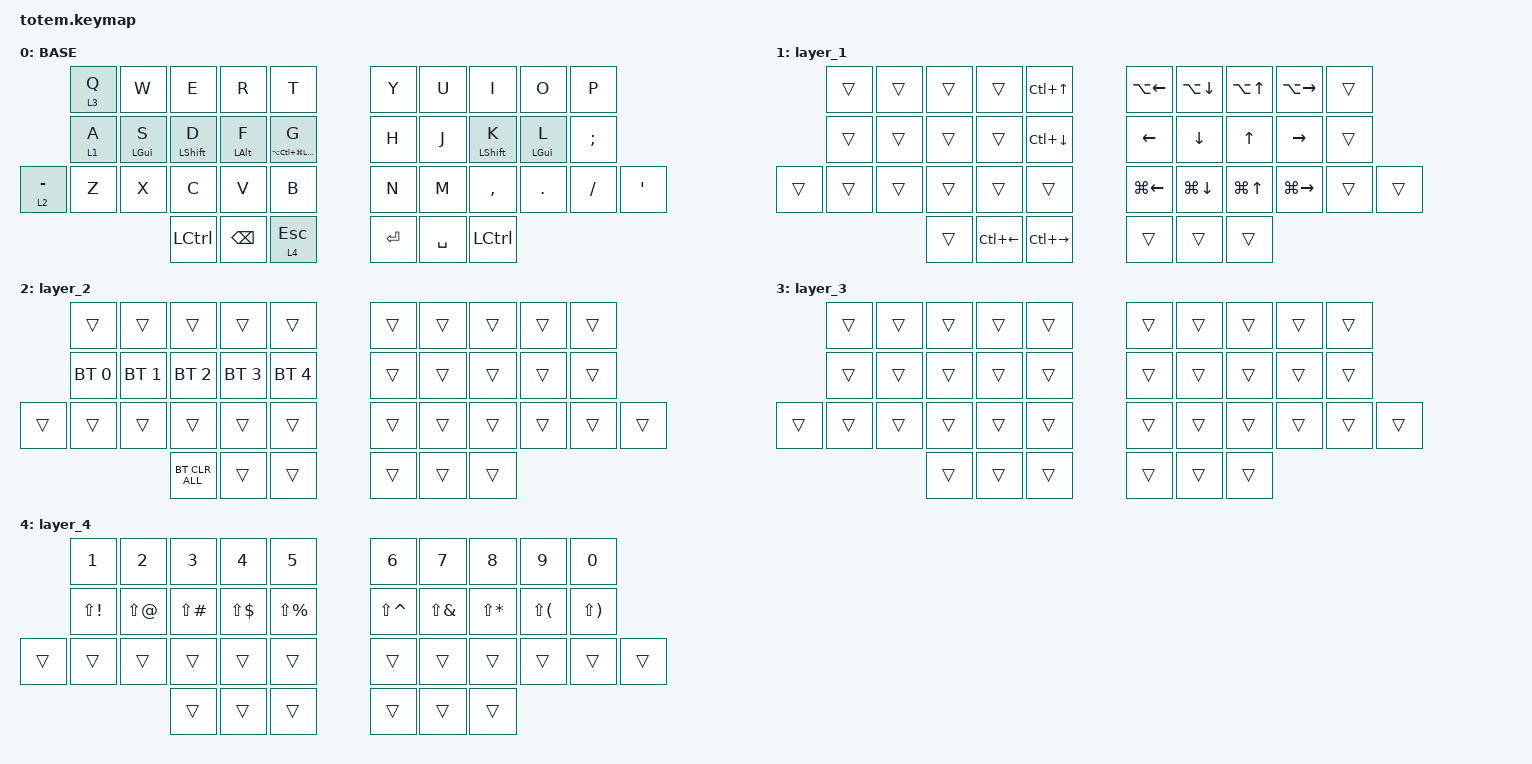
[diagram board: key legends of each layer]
//
//                                                        ▀▀▀▀▀     ▀▀▀▀▀          ▀▀█▀▀
//                                                        ▄▀▀▀▄  ▄  ▄▀▀▀▄  ▄  ▄▀▀▀▄  █  ▄▀▀▀▄
//                                                        █   █  █  █   █  █  █   █  █  █   █
//                                                         ▀▀▀   █   ▀▀▀   █   ▀▀▀   ▀   ▀▀▀
//                                                               █      ▄▄▄█▄▄▄    █   █  
//                                                               ▀      █  █  █     █▄█
//                                                             ▀▀▀▀▀    █  █  █      ▀
//                                                                      ▀  ▀  ▀
//
// ▄▄▄▄▄▄▄▄▄▄▄▄▄▄▄▄▄▄▄▄▄▄▄▄▄▄▄▄▄▄▄▄▄▄▄▄▄▄▄▄▄▄▄▄▄▄▄▄▄▄▄▄▄▄▄▄▄▄▄▄▄▄▄▄▄▄▄▄▄▄▄▄▄▄▄▄▄▄▄▄▄▄▄▄▄▄▄▄▄▄▄▄▄▄▄▄▄▄▄▄▄▄▄▄▄▄▄▄▄▄▄▄▄▄▄▄▄▄▄▄▄▄▄▄▄▄▄▄▄▄▄▄▄▄▄▄▄▄▄▄▄▄▄▄▄▄▄▄▄

#include <behaviors.dtsi>
#include <dt-bindings/zmk/bt.h>
#include <dt-bindings/zmk/keys.h>

#define BASE 0
#define NAV  1
#define SYM  2
#define ADJ  3
#define TVP1 4
#define TVP2 5

&mt {
    quick-tap-ms = <100>;
    global-quick-tap;
    flavor = "tap-preferred";
    tapping-term-ms = <170>;
};

/ {
    combos {
        compatible = "zmk,combos";

        combo_esc {
            timeout-ms = <50>;
            key-positions = <1 2>;
            bindings = <&kp TAB>;
        };

        combo_caps {
            bindings = <&kp CAPSLOCK>;
            key-positions = <11 12>;
        };

        combo_tilde {
            bindings = <&kp GRAVE>;
            key-positions = <22 23>;
        };

        combo_lcurly {
            bindings = <&kp LEFT_BRACE>;
            key-positions = <3 2>;
        };

        combo_rcurly {
            bindings = <&kp RIGHT_BRACE>;
            key-positions = <3 4>;
        };

        combo_lround {
            bindings = <&kp LEFT_PARENTHESIS>;
            key-positions = <12 13>;
        };

        combo_rround {
            bindings = <&kp RIGHT_PARENTHESIS>;
            key-positions = <13 14>;
        };

        combo_lbracket {
            bindings = <&kp LEFT_BRACKET>;
            key-positions = <23 24>;
        };

        combo_rbracket {
            bindings = <&kp RIGHT_BRACKET>;
            key-positions = <24 25>;
        };

        combo_bcklash {
            bindings = <&kp NON_US_BACKSLASH>;
            key-positions = <7 8>;
        };

        combo_semicolon {
            bindings = <&kp COLON>;
            key-positions = <17 18>;
        };

        combo_eq {
            bindings = <&kp EQUAL>;
            key-positions = <28 29>;
        };

        combo_play {
            bindings = <&kp C_PLAY_PAUSE>;
            key-positions = <36 17>;
        };

        combo_next {
            bindings = <&kp C_NEXT>;
            key-positions = <36 18>;
        };

        combo_prev {
            bindings = <&kp LC(C_PREVIOUS)>;
            key-positions = <36 16>;
        };

        combo_volup {
            bindings = <&kp C_VOLUME_UP>;
            key-positions = <33 13>;
        };

        combo_mute {
            bindings = <&kp C_MUTE>;
            key-positions = <33 12>;
        };

        combo_voldown {
            bindings = <&kp C_VOLUME_DOWN>;
            key-positions = <33 11>;
        };
    };

    macros {
        gif: gif {
            label = "giphy";
            compatible = "zmk,behavior-macro";
            #binding-cells = <0>;
            bindings =
                <&macro_press>,
                <&kp LSHFT>,
                <&macro_tap>,
                <&kp N2>,
                <&macro_release>,
                <&kp LSHFT>,
                <&macro_tap>,
                <&kp G &kp I &kp F>;
        };
    };

    behaviors {
        hm: homerow_mods {
            compatible = "zmk,behavior-hold-tap";
            label = "HOMEROW_MODS";
            #binding-cells = <2>;
            tapping-term-ms = <200>;
            quick-tap-ms = <125>;
            flavor = "tap-preferred";
            bindings = <&kp>, <&kp>;
        };
    };

    keymap {
        compatible = "zmk,keymap";

        // ▄▄▄▄▄▄▄▄▄▄▄▄▄▄▄▄▄▄▄▄▄▄▄▄▄▄▄▄▄▄▄▄▄▄▄▄▄▄▄▄▄▄▄▄▄▄▄▄▄▄▄▄▄▄▄▄▄▄▄▄▄▄▄▄▄▄▄▄▄▄▄▄▄▄▄▄▄▄▄▄▄▄▄▄▄▄▄▄▄▄▄▄▄▄▄▄▄▄▄▄▄▄▄▄▄▄▄▄▄▄▄▄▄▄▄▄▄▄▄▄▄▄▄▄▄▄▄▄▄▄▄▄▄▄▄▄▄▄▄▄▄▄▄▄▄▄▄▄▄

        base_layer {
            // ┏━━━━━━━━━━━━━━━━━━━━━━━━━━━━━━━━━━━━━━━┓

            label = "BASE";

            // ┗━━━━━━━━━━━━━━━━━━━━━━━━━━━━━━━━━━━━━━━┛
            //             ┏━━━━━━━━━━━┳━━━━━━━━━━━┳━━━━━━━━━━━┳━━━━━━━━━━━┳━━━━━━━━━━━┓   ┏━━━━━━━━━━━┳━━━━━━━━━━━┳━━━━━━━━━━━┳━━━━━━━━━━━┳━━━━━━━━━━━┓
            //             ┃     Q     ┃     W     ┃     F     ┃     P     ┃     G     ┃   ┃     J     ┃     L     ┃     U     ┃     Y     ┃     ;     ┃
            //             ┣━━━━━━━━━━━╋━━━━━━━━━━━╋━━━━━━━━━━━╋━━━━━━━━━━━╋━━━━━━━━━━━┫   ┣━━━━━━━━━━━╋━━━━━━━━━━━╋━━━━━━━━━━━╋━━━━━━━━━━━╋━━━━━━━━━━━┫
            //             ┃     A     ┃     R     ┃     S     ┃     T     ┃     D     ┃   ┃     H     ┃     N     ┃     E     ┃     I     ┃     O     ┃
            // ┏━━━━━━━━━━━╋━━━━━━━━━━━╋━━━━━━━━━━━╋━━━━━━━━━━━╋━━━━━━━━━━━╋━━━━━━━━━━━┫   ┣━━━━━━━━━━━╋━━━━━━━━━━━╋━━━━━━━━━━━╋━━━━━━━━━━━╋━━━━━━━━━━━╋━━━━━━━━━━━┓
            // ┃     Q     ┃     Z     ┃     X     ┃     C     ┃     V     ┃     B     ┃   ┃     K     ┃     M     ┃     ,     ┃     .     ┃     /     ┃     \     ┃
            // ┗━━━━━━━━━━━┻━━━━━━━━━━━┻━━━━━━━━━━━╋━━━━━━━━━━━╋━━━━━━━━━━━╋━━━━━━━━━━━┫   ┣━━━━━━━━━━━╋━━━━━━━━━━━╋━━━━━━━━━━━╋━━━━━━━━━━━┻━━━━━━━━━━━┻━━━━━━━━━━━┛
            //                                     ┃    DEL    ┃    TAB    ┃    SPC    ┃   ┃   ENTER   ┃           ┃   BSPC    ┃
            //                                     ┗━━━━━━━━━━━┻━━━━━━━━━━━┻━━━━━━━━━━━┛   ┗━━━━━━━━━━━┻━━━━━━━━━━━┻━━━━━━━━━━━┛

            bindings = <
             &lt 3 Q  &kp W       &kp E         &kp R       &kp T                       &kp Y    &kp U      &kp I         &kp O       &kp P
             &lt 1 A  &hm LGUI S  &hm LSHIFT D  &hm LALT F  &hm LA(LC(LG(LSHIFT))) G    &kp H    &kp J      &hm LSHIFT K  &hm LGUI L  &kp SEMICOLON
&lt 2 MINUS  &kp Z    &kp X       &kp C         &kp V       &kp B                       &kp N    &kp M      &kp COMMA     &kp DOT     &kp FSLH       &kp SINGLE_QUOTE
                                  &kp LCTRL     &kp BSPC    &lt 4 ESCAPE                &kp RET  &kp SPACE  &kp LCTRL
            >;
        };

        // ▄▄▄▄▄▄▄▄▄▄▄▄▄▄▄▄▄▄▄▄▄▄▄▄▄▄▄▄▄▄▄▄▄▄▄▄▄▄▄▄▄▄▄▄▄▄▄▄▄▄▄▄▄▄▄▄▄▄▄▄▄▄▄▄▄▄▄▄▄▄▄▄▄▄▄▄▄▄▄▄▄▄▄▄▄▄▄▄▄▄▄▄▄▄▄▄▄▄▄▄▄▄▄▄▄▄▄▄▄▄▄▄▄▄▄▄▄▄▄▄▄▄▄▄▄▄▄▄▄▄▄▄▄▄▄▄▄▄▄▄▄▄▄▄▄▄▄▄▄
        // ▄▄▄▄▄▄▄▄▄▄▄▄▄▄▄▄▄▄▄▄▄▄▄▄▄▄▄▄▄▄▄▄▄▄▄▄▄▄▄▄▄▄▄▄▄▄▄▄▄▄▄▄▄▄▄▄▄▄▄▄▄▄▄▄▄▄▄▄▄▄▄▄▄▄▄▄▄▄▄▄▄▄▄▄▄▄▄▄▄▄▄▄▄▄▄▄▄▄▄▄▄▄▄▄▄▄▄▄▄▄▄▄▄▄▄▄▄▄▄▄▄▄▄▄▄▄▄▄▄▄▄▄▄▄▄▄▄▄▄▄▄▄▄▄▄▄▄▄▄
        // ▄▄▄▄▄▄▄▄▄▄▄▄▄▄▄▄▄▄▄▄▄▄▄▄▄▄▄▄▄▄▄▄▄▄▄▄▄▄▄▄▄▄▄▄▄▄▄▄▄▄▄▄▄▄▄▄▄▄▄▄▄▄▄▄▄▄▄▄▄▄▄▄▄▄▄▄▄▄▄▄▄▄▄▄▄▄▄▄▄▄▄▄▄▄▄▄▄▄▄▄▄▄▄▄▄▄▄▄▄▄▄▄▄▄▄▄▄▄▄▄▄▄▄▄▄▄▄▄▄▄▄▄▄▄▄▄▄▄▄▄▄▄▄▄▄▄▄▄▄
        // ▄▄▄▄▄▄▄▄▄▄▄▄▄▄▄▄▄▄▄▄▄▄▄▄▄▄▄▄▄▄▄▄▄▄▄▄▄▄▄▄▄▄▄▄▄▄▄▄▄▄▄▄▄▄▄▄▄▄▄▄▄▄▄▄▄▄▄▄▄▄▄▄▄▄▄▄▄▄▄▄▄▄▄▄▄▄▄▄▄▄▄▄▄▄▄▄▄▄▄▄▄▄▄▄▄▄▄▄▄▄▄▄▄▄▄▄▄▄▄▄▄▄▄▄▄▄▄▄▄▄▄▄▄▄▄▄▄▄▄▄▄▄▄▄▄▄▄▄▄
        // ▄▄▄▄▄▄▄▄▄▄▄▄▄▄▄▄▄▄▄▄▄▄▄▄▄▄▄▄▄▄▄▄▄▄▄▄▄▄▄▄▄▄▄▄▄▄▄▄▄▄▄▄▄▄▄▄▄▄▄▄▄▄▄▄▄▄▄▄▄▄▄▄▄▄▄▄▄▄▄▄▄▄▄▄▄▄▄▄▄▄▄▄▄▄▄▄▄▄▄▄▄▄▄▄▄▄▄▄▄▄▄▄▄▄▄▄▄▄▄▄▄▄▄▄▄▄▄▄▄▄▄▄▄▄▄▄▄▄▄▄▄▄▄▄▄▄▄▄▄

        layer_1 {
            bindings = <
        &trans  &trans  &trans  &trans        &kp LC(UP)       &kp LA(LEFT)  &kp LA(DOWN)  &kp LA(UP)    &kp LA(RIGHT)  &trans
        &trans  &trans  &trans  &trans        &kp LC(DOWN)     &kp LEFT      &kp DOWN      &kp UP_ARROW  &kp RIGHT      &trans
&trans  &trans  &trans  &trans  &trans        &trans           &kp LG(LEFT)  &kp LG(DOWN)  &kp LG(UP)    &kp LG(RIGHT)  &trans  &trans
                        &trans  &kp LC(LEFT)  &kp LC(RIGHT)    &trans        &trans        &trans
            >;
        };

        layer_2 {
            bindings = <
        &trans        &trans        &trans          &trans        &trans          &trans  &trans  &trans  &trans  &trans
        &bt BT_SEL 0  &bt BT_SEL 1  &bt BT_SEL 2    &bt BT_SEL 3  &bt BT_SEL 4    &trans  &trans  &trans  &trans  &trans
&trans  &trans        &trans        &trans          &trans        &trans          &trans  &trans  &trans  &trans  &trans  &trans
                                    &bt BT_CLR_ALL  &trans        &trans          &trans  &trans  &trans
            >;
        };

        layer_3 {
            bindings = <
        &trans  &trans  &trans  &trans  &trans    &trans  &trans  &trans  &trans  &trans
        &trans  &trans  &trans  &trans  &trans    &trans  &trans  &trans  &trans  &trans
&trans  &trans  &trans  &trans  &trans  &trans    &trans  &trans  &trans  &trans  &trans  &trans
                        &trans  &trans  &trans    &trans  &trans  &trans
            >;
        };

        layer_4 {
            bindings = <
        &kp N1        &kp N2      &kp N3         &kp N4        &kp N5           &kp N6         &kp N7        &kp N8        &kp N9        &kp N0
        &kp LS(EXCL)  &kp LS(AT)  &kp LS(POUND)  &kp LS(DLLR)  &kp LS(PRCNT)    &kp LS(CARET)  &kp LS(AMPS)  &kp LS(STAR)  &kp LS(LPAR)  &kp LS(RPAR)
&trans  &trans        &trans      &trans         &trans        &trans           &trans         &trans        &trans        &trans        &trans        &trans
                                  &trans         &trans        &trans           &trans         &trans        &trans
            >;
        };
    };
};
